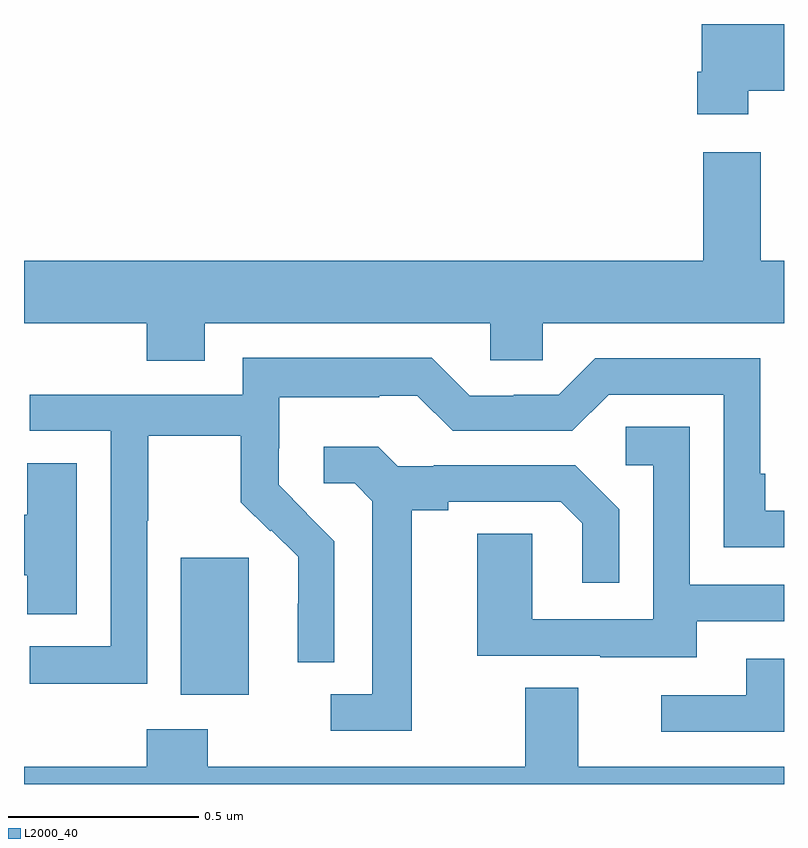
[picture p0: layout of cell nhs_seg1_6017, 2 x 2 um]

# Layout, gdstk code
import gdstk
lib = gdstk.Library(unit=1e-6, precision=1e-09)
def R(c, l, rs):  # rectangles x0, y0, x1, y1
    for r in rs: c.add(gdstk.rectangle(r[:2], r[2:], *l))
def P(c, l, *ps):  # polygons
    for p in ps: c.add(gdstk.Polygon(p, *l))
L2000_40 = (2000, 40)

nhs_seg1_6017 = lib.new_cell('nhs_seg1_6017')
R(nhs_seg1_6017, L2000_40, [(186.413,537.434,186.592,537.795)])
P(nhs_seg1_6017, L2000_40, [(187.906,539.024),(188,539.024),(188,539.199),(187.784,539.199),(187.784,539.074),(187.772,539.074),(187.772,538.962),(187.906,538.962)],
  [(186.475,538.412),(187.227,538.412),(187.227,538.314),(187.365,538.314),(187.365,538.412),(188,538.412),(188,538.576),(187.939,538.576),(187.939,538.861),(187.787,538.861),(187.787,538.576),(186,538.576),(186,538.412),(186.323,538.412),(186.323,538.313),(186.475,538.313)],
  [(186.324,537.892),(186.327,537.892),(186.327,538.116),(186.571,538.116),(186.571,537.941),(186.648,537.864),(186.651,537.867),(186.722,537.797),(186.722,537.674),(186.72,537.674),(186.72,537.52),(186.816,537.52),(186.816,537.838),(186.743,537.911),(186.744,537.912),(186.67,537.986),(186.67,538.083),(186.672,538.083),(186.672,538.217),(186.935,538.217),(186.935,538.221),(187.035,538.221),(187.128,538.128),(187.443,538.128),(187.539,538.224),(187.842,538.224),(187.842,537.822),(188,537.822),(188,537.918),(187.951,537.918),(187.951,538.015),(187.938,538.015),(187.938,538.32),(187.503,538.32),(187.407,538.224),(187.289,538.224),(187.289,538.221),(187.173,538.221),(187.073,538.321),(186.576,538.321),(186.576,538.224),(186.015,538.224),(186.015,538.128),(186.228,538.128),(186.228,537.561),(186.015,537.561),(186.015,537.463),(186.324,537.463)],
  [(187.771,537.627),(188,537.627),(188,537.723),(187.752,537.723),(187.752,538.139),(187.584,538.139),(187.584,538.038),(187.656,538.038),(187.656,537.633),(187.338,537.633),(187.338,537.857),(187.193,537.857),(187.193,537.537),(187.517,537.537),(187.517,537.533),(187.771,537.533)],
  [(187.021,537.92),(187.117,537.92),(187.117,537.942),(187.412,537.942),(187.469,537.885),(187.469,537.729),(187.566,537.729),(187.566,537.922),(187.45,538.038),(187.078,538.038),(187.078,538.035),(186.984,538.035),(186.932,538.087),(186.789,538.087),(186.789,537.99),(186.87,537.99),(186.917,537.943),(186.917,537.435),(186.807,537.435),(186.807,537.339),(187.021,537.339)],
  [(186.139,538.043),(186.008,538.043),(186.008,537.907),(186,537.907),(186,537.749),(186.008,537.749),(186.008,537.646),(186.139,537.646)],
  [(188,537.528),(187.901,537.528),(187.901,537.432),(187.677,537.432),(187.677,537.336),(188,537.336)],
  [(188,537.244),(187.459,537.244),(187.459,537.452),(187.319,537.452),(187.319,537.244),(186.483,537.244),(186.483,537.343),(186.323,537.343),(186.323,537.244),(186,537.244),(186,537.199),(188,537.199)])

lib.write_gds('nhs_seg1_6017.gds')
